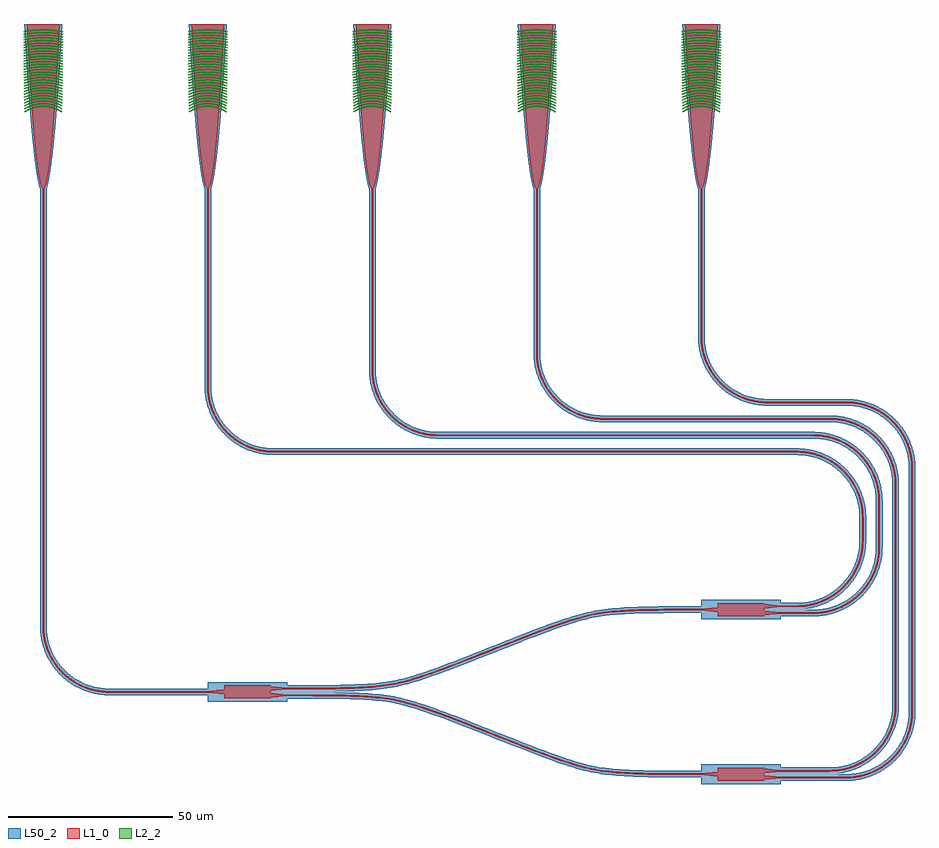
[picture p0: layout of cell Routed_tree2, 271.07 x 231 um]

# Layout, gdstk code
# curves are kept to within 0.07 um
from math import pi, radians
import gdstk
lib = gdstk.Library(unit=1e-6, precision=1e-09)
def R(c, l, rs):  # rectangles x0, y0, x1, y1
    for r in rs: c.add(gdstk.rectangle(r[:2], r[2:], *l))
def P(c, l, *ps):  # polygons
    for p in ps: c.add(gdstk.Polygon(p, *l))
L1_0 = (1, 0)
L2_2 = (2, 2)
L50_2 = (50, 2)

mmi_1x2_optimized = lib.new_cell('MMI_1X2_OPTIMIZED')
R(mmi_1x2_optimized, L1_0, [(0,-2,14.078,2)])
P(mmi_1x2_optimized, L1_0, [(-5,-0.225),(-5,0.225),(0,0.75),(0,-0.75)],
  [(14.078,0.274),(14.078,1.774),(19.078,1.249),(19.078,0.799)],
  [(14.078,-1.774),(14.078,-0.274),(19.078,-0.799),(19.078,-1.249)])
R(mmi_1x2_optimized, L50_2, [(-5,-3,19.078,3)])

sp2_connector0 = lib.new_cell('SP2_connector0')
P(sp2_connector0, L1_0, [(19.078,-1.249),(32.112,-1.293),(41.04,-1.528),(44.877,-1.77),(48.324,-2.121),(51.4,-2.601),(53.393,-3.027),(55.514,-3.57),(58.953,-4.593),(65.436,-6.83),(72.962,-9.684),(92.549,-17.377),(101.205,-20.59),(107.328,-22.573),(110.582,-23.435),(112.594,-23.865),(114.624,-24.204),(117.967,-24.598),(124.39,-25.005),(131.961,-25.181),(145,-25.225),(145,-24.775),(130.357,-24.71),(124.408,-24.555),(120.436,-24.346),(116.861,-24.034),(114.689,-23.759),(111.697,-23.225),(109.641,-22.74),(107.453,-22.14),(103.906,-21.035),(97.225,-18.671),(89.475,-15.7),(71.529,-8.647),(62.873,-5.434),(56.75,-3.451),(53.496,-2.589),(51.484,-2.159),(48.38,-1.674),(44.913,-1.321),(41.061,-1.079),(36.803,-0.926),(30.457,-0.827),(19.078,-0.799)])
P(sp2_connector0, L50_2, [(19.078,-2.024),(32.103,-2.068),(41.002,-2.303),(44.815,-2.542),(48.226,-2.889),(53.215,-3.782),(58.718,-5.332),(65.17,-7.558),(92.27,-18.1),(100.949,-21.322),(107.112,-23.317),(112.449,-24.627),(117.895,-25.37),(124.359,-25.779),(131.952,-25.956),(145,-26),(145,-24),(130.369,-23.935),(121.759,-23.652),(118.082,-23.379),(114.801,-22.992),(109.833,-21.989),(104.149,-20.299),(97.495,-17.944),(71.808,-7.924),(63.129,-4.702),(56.966,-2.707),(51.629,-1.397),(46.183,-0.654),(39.719,-0.245),(32.126,-0.068),(19.078,-0.024)])

sp2_connector1 = lib.new_cell('SP2_connector1')
P(sp2_connector1, L1_0, [(19.078,0.799),(32.117,0.843),(39.688,1.019),(46.111,1.426),(49.454,1.82),(51.484,2.159),(53.496,2.589),(56.75,3.451),(62.873,5.434),(71.529,8.647),(89.475,15.7),(97.225,18.671),(103.906,21.035),(107.453,22.14),(109.641,22.74),(111.697,23.225),(114.689,23.759),(116.861,24.034),(120.436,24.346),(124.408,24.555),(130.357,24.71),(145,24.775),(145,25.225),(131.961,25.181),(124.39,25.005),(117.967,24.598),(114.624,24.204),(112.594,23.865),(110.582,23.435),(107.328,22.573),(101.205,20.59),(92.549,17.377),(74.603,10.324),(66.853,7.353),(60.172,4.989),(56.625,3.884),(54.437,3.284),(52.381,2.799),(49.389,2.265),(47.217,1.99),(43.642,1.678),(39.67,1.469),(33.721,1.314),(19.078,1.249)])
P(sp2_connector1, L50_2, [(19.078,0.024),(32.126,0.068),(41.098,0.305),(47.351,0.772),(52.637,1.601),(58.128,3.053),(64.473,5.179),(71.808,7.924),(97.495,17.944),(104.149,20.299),(109.833,21.989),(114.801,22.992),(118.082,23.379),(121.759,23.652),(130.369,23.935),(145,24),(145,26),(131.952,25.956),(122.98,25.719),(116.727,25.252),(111.441,24.423),(105.95,22.971),(99.605,20.845),(92.27,18.1),(66.583,8.08),(59.929,5.725),(54.245,4.035),(49.277,3.032),(45.996,2.645),(42.319,2.372),(33.709,2.089),(19.078,2.024)])

sp2 = lib.new_cell('SP2')
sp2.add(gdstk.Reference(mmi_1x2_optimized, (0,0)))
sp2.add(gdstk.Reference(mmi_1x2_optimized, (150,-25)))
sp2.add(gdstk.Reference(mmi_1x2_optimized, (150,25)))
sp2.add(gdstk.Reference(sp2_connector0, (0,0)))
sp2.add(gdstk.Reference(sp2_connector1, (0,0)))

fc_te_1550_grating = lib.new_cell('FC_TE_1550_grating')
P(fc_te_1550_grating, L2_2, [(1.879,5.557),(1.112,4.222),(0.612,2.949),(0.294,1.618),(0.163,0.257),(0.205,-0.94),(0.43,-2.289),(0.665,-3.112),(0.97,-3.911),(1.344,-4.68),(1.879,-5.557),(1.614,-5.736),(0.823,-4.359),(0.255,-2.876),(-0.074,-1.321),(-0.157,0.265),(-0.095,1.146),(0.043,2.018),(0.255,2.876),(0.542,3.711),(0.98,4.676),(1.614,5.736)],
  [(0.961,5.613),(0.27,4.306),(-0.18,3.095),(-0.48,1.838),(-0.634,0.369),(-0.6,-0.922),(-0.41,-2.201),(-0.18,-3.095),(0.127,-3.966),(0.508,-4.807),(0.961,-5.613),(0.688,-5.779),(-0.022,-4.436),(-0.54,-3.005),(-0.761,-2.08),(-0.879,-1.329),(-0.958,0.19),(-0.901,1.14),(-0.761,2.08),(-0.54,3.005),(-0.306,3.73),(0.138,4.781),(0.688,5.779)],
  [(0.057,5.658),(-0.627,4.236),(-1.06,2.926),(-1.331,1.573),(-1.438,0.197),(-1.357,-1.377),(-1.06,-2.926),(-0.627,-4.236),(0.057,-5.658),(-0.222,-5.814),(-0.924,-4.354),(-1.369,-3.008),(-1.674,-1.416),(-1.758,0.203),(-1.697,1.214),(-1.586,2.018),(-1.369,3.008),(-1.135,3.784),(-0.767,4.729),(-0.222,5.814)],
  [(-0.834,5.695),(-1.443,4.345),(-1.831,3.137),(-2.123,1.687),(-2.233,0.423),(-2.174,-1.267),(-1.932,-2.727),(-1.443,-4.345),(-0.834,-5.695),(-1.119,-5.842),(-1.742,-4.459),(-2.244,-2.798),(-2.493,-1.3),(-2.553,0.434),(-2.373,2.16),(-1.957,3.844),(-1.581,4.862),(-1.119,5.842)],
  [(-1.715,5.726),(-2.242,4.491),(-2.639,3.21),(-2.902,1.894),(-3.036,0.335),(-2.982,-1.228),(-2.741,-2.775),(-2.317,-4.281),(-1.715,-5.726),(-2.004,-5.865),(-2.62,-4.386),(-3.054,-2.843),(-3.301,-1.259),(-3.356,0.344),(-3.301,1.259),(-3.183,2.167),(-2.763,3.95),(-2.462,4.816),(-2.004,5.865)],
  [(-2.588,5.753),(-3.112,4.429),(-3.498,3.059),(-3.74,1.657),(-3.838,0.237),(-3.767,-1.421),(-3.548,-2.827),(-3.112,-4.429),(-2.588,-5.753),(-2.88,-5.883),(-3.491,-4.3),(-3.909,-2.654),(-4.127,-0.97),(-4.152,0.485),(-3.992,2.176),(-3.81,3.13),(-3.563,4.068),(-3.252,4.988),(-2.88,5.883)],
  [(-3.453,5.775),(-3.901,4.593),(-4.301,3.133),(-4.518,1.889),(-4.635,0.379),(-4.596,-1.135),(-4.353,-2.885),(-3.978,-4.353),(-3.453,-5.775),(-3.748,-5.899),(-4.283,-4.448),(-4.667,-2.948),(-4.893,-1.417),(-4.955,0.387),(-4.799,2.186),(-4.428,3.953),(-4.121,4.938),(-3.748,5.899)],
  [(-4.311,5.794),(-4.83,4.297),(-5.143,3.016),(-5.345,1.712),(-5.435,0.396),(-5.394,-1.187),(-5.192,-2.756),(-4.83,-4.297),(-4.311,-5.794),(-4.609,-5.912),(-5.137,-4.386),(-5.507,-2.814),(-5.713,-1.211),(-5.755,0.404),(-5.594,2.282),(-5.21,4.127),(-4.609,5.912)],
  [(-5.165,5.811),(-5.613,4.468),(-5.943,3.093),(-6.151,1.694),(-6.238,0.283),(-6.201,-1.131),(-5.994,-2.815),(-5.689,-4.196),(-5.165,-5.811),(-5.465,-5.923),(-5.998,-4.278),(-6.357,-2.586),(-6.52,-1.153),(-6.55,0.577),(-6.357,2.586),(-5.998,4.278),(-5.465,5.923)],
  [(-6.013,5.826),(-6.381,4.694),(-6.727,3.249),(-6.947,1.78),(-7.03,0.594),(-6.999,-1.188),(-6.83,-2.664),(-6.46,-4.407),(-6.013,-5.826),(-6.315,-5.932),(-6.845,-4.197),(-7.147,-2.714),(-7.318,-1.21),(-7.357,0.303),(-7.231,2.114),(-7.097,3.013),(-6.845,4.197),(-6.315,5.932)],
  [(-6.858,5.838),(-7.295,4.377),(-7.553,3.185),(-7.73,1.978),(-7.834,0.457),(-7.808,-1.067),(-7.652,-2.583),(-7.295,-4.377),(-6.858,-5.838),(-7.161,-5.941),(-7.679,-4.154),(-7.969,-2.629),(-8.128,-1.086),(-8.154,0.466),(-8.011,2.322),(-7.679,4.154),(-7.161,5.941)],
  [(-7.698,5.85),(-8.06,4.614),(-8.335,3.358),(-8.523,2.086),(-8.634,0.482),(-8.606,-1.125),(-8.44,-2.724),(-8.137,-4.302),(-7.698,-5.85),(-8.003,-5.948),(-8.448,-4.376),(-8.757,-2.77),(-8.925,-1.144),(-8.954,0.491),(-8.802,2.446),(-8.448,4.376),(-8.003,5.948)],
  [(-8.536,5.86),(-8.892,4.585),(-9.16,3.29),(-9.339,1.98),(-9.429,0.661),(-9.415,-0.991),(-9.26,-2.637),(-8.967,-4.263),(-8.536,-5.86),(-8.842,-5.954),(-9.279,-4.333),(-9.577,-2.68),(-9.734,-1.008),(-9.749,0.672),(-9.577,2.68),(-9.203,4.66),(-8.842,5.954)],
  [(-9.37,5.869),(-9.649,4.855),(-9.938,3.484),(-10.131,2.097),(-10.228,0.7),(-10.213,-1.05),(-10.092,-2.445),(-9.805,-4.172),(-9.37,-5.869),(-9.678,-5.959),(-10.042,-4.585),(-10.363,-2.837),(-10.532,-1.067),(-10.548,0.711),(-10.363,2.837),(-10.042,4.585),(-9.678,5.959)],
  [(-10.203,5.877),(-10.558,4.477),(-10.817,3.057),(-10.977,1.622),(-11.033,0.541),(-11.021,-0.902),(-10.866,-2.699),(-10.632,-4.123),(-10.203,-5.877),(-10.511,-5.964),(-10.946,-4.186),(-11.184,-2.74),(-11.322,-1.282),(-11.353,0.55),(-11.184,2.74),(-10.871,4.545),(-10.511,5.964)],
  [(-11.032,5.884),(-11.385,4.436),(-11.584,3.337),(-11.761,1.859),(-11.837,0.372),(-11.811,-1.116),(-11.685,-2.6),(-11.385,-4.436),(-11.032,-5.884),(-11.341,-5.968),(-11.698,-4.501),(-11.954,-3.012),(-12.109,-1.51),(-12.157,0.378),(-12.044,2.262),(-11.698,4.501),(-11.341,5.968)],
  [(-11.86,5.891),(-12.21,4.392),(-12.405,3.256),(-12.574,1.728),(-12.633,0.577),(-12.62,-0.961),(-12.457,-2.875),(-12.21,-4.392),(-11.86,-5.891),(-12.17,-5.971),(-12.524,-4.454),(-12.774,-2.916),(-12.939,-0.974),(-12.953,0.585),(-12.82,2.529),(-12.524,4.454),(-12.17,5.971)],
  [(-12.686,5.897),(-13.168,3.562),(-13.319,2.38),(-13.427,0.794),(-13.427,-0.794),(-13.319,-2.38),(-13.034,-4.345),(-12.686,-5.897),(-12.997,-5.974),(-13.348,-4.404),(-13.593,-2.812),(-13.729,-1.208),(-13.757,0.403),(-13.637,2.412),(-13.348,4.404),(-12.997,5.974)],
  [(-13.51,5.902),(-13.989,3.482),(-14.135,2.258),(-14.232,0.617),(-14.218,-1.027),(-14.093,-2.667),(-13.857,-4.294),(-13.51,-5.902),(-13.822,-5.977),(-14.172,-4.35),(-14.411,-2.702),(-14.538,-1.041),(-14.552,0.625),(-14.411,2.702),(-14.094,4.76),(-13.822,5.977)],
  [(-14.333,5.907),(-14.603,4.657),(-14.809,3.396),(-14.95,2.127),(-15.026,0.852),(-15.026,-0.852),(-14.91,-2.551),(-14.679,-4.238),(-14.333,-5.907),(-14.645,-5.98),(-14.994,-4.292),(-15.228,-2.583),(-15.345,-0.862),(-15.345,0.862),(-15.181,3.012),(-14.834,5.14),(-14.645,5.98)],
  [(-15.155,5.912),(-15.425,4.613),(-15.628,3.304),(-15.764,1.986),(-15.832,0.662),(-15.816,-1.104),(-15.681,-2.865),(-15.425,-4.613),(-15.155,-5.912),(-15.467,-5.982),(-15.816,-4.23),(-15.999,-2.901),(-16.136,-1.118),(-16.151,0.671),(-15.999,2.901),(-15.74,4.67),(-15.467,5.982)],
  [(-15.975,5.916),(-16.388,3.659),(-16.541,2.291),(-16.624,0.917),(-16.624,-0.917),(-16.498,-2.748),(-16.321,-4.113),(-15.975,-5.916),(-16.287,-5.984),(-16.637,-4.162),(-16.86,-2.319),(-16.944,-0.928),(-16.944,0.928),(-16.816,2.781),(-16.478,5.077),(-16.287,5.984)],
  [(-16.794,5.92),(-17.207,3.569),(-17.356,2.145),(-17.431,0.716),(-17.431,-0.716),(-17.315,-2.621),(-17.141,-4.042),(-16.794,-5.92),(-17.107,-5.986),(-17.382,-4.566),(-17.633,-2.651),(-17.751,-0.724),(-17.751,0.724),(-17.583,3.131),(-17.298,5.041),(-17.107,5.986)],
  [(-17.612,5.923),(-17.877,4.515),(-18.07,3.096),(-18.231,0.716),(-18.215,-1.193),(-18.118,-2.621),(-17.877,-4.515),(-17.612,-5.923),(-17.925,-5.988),(-18.193,-4.566),(-18.437,-2.651),(-18.535,-1.206),(-18.551,0.724),(-18.437,2.651),(-18.111,5.042),(-17.925,5.988)],
  [(-18.429,5.927),(-18.832,3.472),(-19.023,0.994),(-19.036,-0.497),(-18.934,-2.483),(-18.696,-4.458),(-18.429,-5.927),(-18.743,-5.989),(-19.085,-4.009),(-19.252,-2.511),(-19.356,-0.503),(-19.343,1.005),(-19.205,3.011),(-18.841,5.497),(-18.743,5.989)],
  [(-19.245,5.93),(-19.65,3.366),(-19.83,0.778),(-19.812,-1.297),(-19.704,-2.85),(-19.515,-4.395),(-19.245,-5.93),(-19.559,-5.991),(-19.904,-3.923),(-20.068,-2.358),(-20.15,-0.787),(-20.15,0.787),(-19.968,3.402),(-19.659,5.477),(-19.559,5.991)],
  [(-20.06,5.932),(-20.454,3.367),(-20.63,0.778),(-20.613,-1.297),(-20.507,-2.851),(-20.323,-4.397),(-20.06,-5.932),(-20.375,-5.992),(-20.64,-4.442),(-20.826,-2.88),(-20.95,-0.787),(-20.95,0.787),(-20.773,3.402),(-20.472,5.478),(-20.375,5.992)],
  [(-20.875,5.935),(-21.272,3.25),(-21.421,1.085),(-21.435,-0.543),(-21.323,-2.71),(-21.141,-4.328),(-20.875,-5.935),(-21.189,-5.993),(-21.458,-4.372),(-21.642,-2.738),(-21.741,-1.096),(-21.741,1.096),(-21.59,3.283),(-21.288,5.455),(-21.189,5.993)],
  [(-21.689,5.938),(-22.076,3.251),(-22.222,1.085),(-22.222,-1.085),(-22.126,-2.711),(-21.948,-4.329),(-21.689,-5.938),(-22.004,-5.994),(-22.265,-4.372),(-22.445,-2.738),(-22.542,-1.096),(-22.542,1.096),(-22.394,3.283),(-22.1,5.456),(-22.004,5.994)],
  [(-22.502,5.94),(-22.892,3.123),(-23.029,0.853),(-23.029,-0.853),(-22.941,-2.556),(-22.765,-4.253),(-22.502,-5.94),(-22.817,-5.995),(-23.082,-4.294),(-23.26,-2.581),(-23.349,-0.861),(-23.349,0.861),(-23.211,3.153),(-22.915,5.43),(-22.817,5.995)])

fc_te_1550_socket = lib.new_cell('FC_TE_1550_socket')
P(fc_te_1550_socket, L1_0, [(25,0.225),(25,-0.225),(24.705,-0.445),(22.786,-1.075),(19.069,-1.735),(13.702,-2.385),(-2.112,-3.685),(-25,-5),(-25,5),(-3.913,3.805),(11.502,2.605),(16.965,2.015),(21.089,1.415),(23.803,0.805),(24.57,0.515)])
P(fc_te_1550_socket, L50_2, [(25,1),(25,-1),(22.079,-1.7),(17.791,-2.38),(10.221,-3.25),(0.565,-4.1),(-11.019,-4.93),(-25,-5.775),(-25,5.775),(-5.733,4.57),(8.784,3.39),(19.133,2.19),(22.589,1.6)])

fc_te_1550 = lib.new_cell('FC_TE_1550')
fc_te_1550.add(gdstk.Reference(fc_te_1550_grating, (0,0)))
fc_te_1550.add(gdstk.Reference(fc_te_1550_socket, (0,0)))

routed_tree2_connector0 = lib.new_cell('Routed_tree2_connector0')
P(routed_tree2_connector0, L1_0, [(-55.225,153),(-55.225,19.999),(-55.15,18.257),(-54.981,16.871),(-54.718,15.5),(-54.257,13.817),(-53.371,11.541),(-52.217,9.388),(-50.813,7.39),(-49.905,6.329),(-48.926,5.333),(-47.057,3.762),(-45.012,2.427),(-42.82,1.348),(-40.515,0.541),(-39.159,0.207),(-37.784,-0.032),(-35.349,-0.222),(-5,-0.225),(-5,0.225),(-35.683,0.237),(-38.06,0.463),(-40.392,0.974),(-42.646,1.763),(-43.886,2.334),(-45.084,2.989),(-47.061,4.329),(-48.862,5.897),(-50.461,7.67),(-51.834,9.624),(-52.962,11.729),(-53.828,13.954),(-54.279,15.6),(-54.537,16.94),(-54.701,18.295),(-54.772,19.659),(-54.775,153)])
P(routed_tree2_connector0, L50_2, [(-56,153),(-56,19.996),(-55.922,18.19),(-55.688,16.393),(-54.881,13.235),(-53.92,10.888),(-52.684,8.674),(-51.19,6.625),(-49.46,4.771),(-47.519,3.139),(-45.395,1.753),(-43.12,0.633),(-40.726,-0.204),(-37.891,-0.8),(-35.362,-0.997),(-5,-1),(-5,1),(-35.656,1.011),(-38.263,1.282),(-40.809,1.91),(-42.648,2.607),(-44.689,3.656),(-46.588,4.943),(-48.319,6.45),(-49.855,8.154),(-51.174,10.031),(-52.258,12.053),(-53.09,14.191),(-53.771,17.06),(-54,20.004),(-54,153)])

routed_tree2_connector1 = lib.new_cell('Routed_tree2_connector1')
P(routed_tree2_connector1, L1_0, [(-5.225,153),(-5.225,92.999),(-5.078,90.562),(-4.637,88.16),(-3.911,85.828),(-3.068,83.911),(-1.841,81.8),(-0.593,80.119),(1.074,78.333),(2.665,76.972),(4.687,75.602),(5.911,74.932),(7.18,74.348),(9.485,73.541),(10.841,73.207),(12.216,72.968),(14.651,72.778),(174.077,72.775),(176.122,72.669),(178.145,72.352),(180.448,71.721),(182.349,70.962),(184.162,70.011),(186.139,68.671),(187.94,67.103),(189.324,65.595),(190.731,63.665),(191.744,61.886),(192.568,60.012),(193.104,58.392),(193.498,56.732),(193.779,54.705),(193.853,52.999),(193.85,45.679),(193.745,43.957),(193.49,42.251),(192.989,40.242),(192.413,38.616),(191.698,37.046),(190.663,35.254),(189.661,33.849),(188.303,32.287),(186.789,30.875),(185.136,29.63),(183.665,28.728),(182.121,27.959),(180.516,27.326),(178.862,26.836),(176.83,26.441),(175.113,26.276),(169.078,26.249),(169.078,25.799),(174.431,25.802),(176.893,25.996),(178.283,26.241),(179.653,26.582),(180.995,27.019),(182.304,27.548),(183.573,28.166),(184.796,28.872),(186.25,29.872),(187.347,30.76),(188.627,31.975),(189.571,33.024),(190.645,34.423),(191.414,35.607),(192.408,37.477),(193.313,39.774),(193.931,42.165),(194.254,44.613),(194.303,46.023),(194.255,54.395),(194.11,55.784),(193.871,57.159),(193.537,58.515),(193.11,59.844),(192.146,62.089),(190.919,64.2),(190.106,65.335),(189.217,66.412),(187.49,68.139),(186.413,69.028),(185.278,69.841),(183.167,71.068),(180.922,72.032),(179.593,72.459),(178.237,72.793),(176.169,73.117),(174.079,73.225),(14.659,73.228),(12.278,73.413),(10.933,73.648),(9.608,73.974),(7.354,74.763),(6.114,75.334),(4.916,75.989),(3.211,77.123),(1.384,78.66),(-0.246,80.405),(-1.466,82.049),(-2.51,83.81),(-3.49,85.988),(-4.116,87.937),(-4.587,90.278),(-4.728,91.636),(-4.775,93.001),(-4.775,153)])
P(routed_tree2_connector1, L50_2, [(-6,153),(-6,92.996),(-5.8,90.109),(-5.39,87.974),(-4.635,85.553),(-3.595,83.241),(-2.486,81.371),(-1.19,79.625),(0.54,77.771),(2.481,76.139),(4.291,74.935),(6.88,73.633),(9.274,72.796),(12.109,72.2),(14.638,72.003),(174.074,72),(176.042,71.898),(177.986,71.594),(179.887,71.09),(182.025,70.258),(183.767,69.344),(185.666,68.057),(187.161,66.778),(188.726,65.101),(189.899,63.522),(191.052,61.538),(191.724,60.043),(192.358,58.181),(192.796,56.263),(193.007,54.638),(193.075,45.692),(192.974,44.038),(192.729,42.399),(192.248,40.469),(191.694,38.906),(190.854,37.104),(190.013,35.676),(189.05,34.326),(187.974,33.066),(186.791,31.904),(185.246,30.653),(183.864,29.738),(182.108,28.804),(180.264,28.059),(178.352,27.511),(176.722,27.209),(175.072,27.05),(169.078,27.024),(169.078,25.024),(174.445,25.027),(177.001,25.228),(179.866,25.837),(182.619,26.84),(185.515,28.412),(188.13,30.418),(190.165,32.525),(192.079,35.208),(193.11,37.149),(194.05,39.535),(194.692,42.017),(195.027,44.559),(195.028,54.449),(194.701,56.963),(193.959,59.765),(192.838,62.437),(191.564,64.629),(189.797,66.926),(188.004,68.719),(186.007,70.283),(183.837,71.595),(181.185,72.761),(178.751,73.474),(176.249,73.888),(174.082,74),(14.672,74.003),(12.06,74.229),(9.819,74.72),(7.352,75.607),(5.311,76.656),(3.412,77.943),(1.917,79.222),(0.563,80.648),(-0.821,82.478),(-1.824,84.17),(-2.646,85.957),(-3.367,88.135),(-3.771,90.06),(-4,93.004),(-4,153)])

routed_tree2_connector2 = lib.new_cell('Routed_tree2_connector2')
P(routed_tree2_connector2, L1_0, [(44.775,153),(44.775,97.999),(44.883,95.909),(45.207,93.841),(45.743,91.817),(46.348,90.18),(47.257,88.293),(48.159,86.8),(49.407,85.119),(50.823,83.576),(52.39,82.187),(53.8,81.159),(54.988,80.427),(56.541,79.629),(57.828,79.089),(59.485,78.541),(61.183,78.138),(62.562,77.922),(64.302,77.787),(179.419,77.772),(181.122,77.669),(182.81,77.42),(184.47,77.026),(185.77,76.608),(187.658,75.817),(189.743,74.653),(191.673,73.246),(193.181,71.862),(194.749,70.061),(196.089,68.084),(197.18,65.96),(197.906,64.046),(198.357,62.4),(198.615,61.06),(198.806,59.364),(198.853,57.999),(198.826,42.941),(198.553,40.542),(197.989,38.194),(197.281,36.249),(196.374,34.389),(195.277,32.634),(194.227,31.265),(192.815,29.751),(191.253,28.393),(189.848,27.391),(188.056,26.356),(186.486,25.641),(184.86,25.065),(183.189,24.633),(181.83,24.393),(179.423,24.204),(169.078,24.201),(169.078,23.751),(180.136,23.779),(182.59,24.058),(184.653,24.534),(186.326,25.094),(187.625,25.646),(189.191,26.461),(190.388,27.209),(191.53,28.038),(192.871,29.184),(193.87,30.183),(194.796,31.248),(195.645,32.375),(196.414,33.559),(197.099,34.794),(197.695,36.073),(198.52,38.401),(198.861,39.771),(199.106,41.161),(199.3,43.623),(199.303,58.001),(199.195,60.091),(198.94,61.817),(198.335,64.183),(197.862,65.497),(197.3,66.775),(196.651,68.012),(195.919,69.2),(194.446,71.148),(193.502,72.177),(192.49,73.139),(190.567,74.645),(189.391,75.398),(188.167,76.068),(185.922,77.032),(184.593,77.459),(182.895,77.862),(181.169,78.117),(179.427,78.222),(64.317,78.237),(62.616,78.369),(61.268,78.58),(59.608,78.974),(57.988,79.51),(56.42,80.183),(54.916,80.989),(53.487,81.922),(52.405,82.754),(51.138,83.897),(49.754,85.405),(48.534,87.049),(47.651,88.509),(46.763,90.354),(46.07,92.28),(45.58,94.268),(45.331,95.956),(45.225,98.001),(45.225,153)])
P(routed_tree2_connector2, L50_2, [(44,153),(44,97.996),(44.112,95.829),(44.449,93.681),(45.005,91.58),(45.776,89.547),(46.577,87.921),(47.717,86.071),(48.81,84.625),(50.279,83.023),(51.907,81.582),(54.605,79.753),(56.216,78.925),(57.893,78.239),(61.037,77.377),(64.275,77.012),(179.406,76.997),(182.341,76.718),(183.943,76.367),(185.508,75.879),(187.616,74.974),(189.6,73.821),(191.43,72.437),(192.856,71.083),(194.135,69.588),(195.422,67.689),(196.471,65.648),(197.168,63.809),(197.849,60.94),(198.078,57.996),(198.052,42.982),(197.789,40.677),(197.248,38.421),(196.568,36.552),(195.854,35.056),(194.83,33.351),(193.844,32.019),(192.513,30.541),(191.291,29.421),(189.703,28.224),(188.289,27.358),(186.502,26.486),(184.949,25.906),(183.028,25.391),(181.394,25.118),(179.41,24.979),(169.078,24.976),(169.078,22.976),(180.177,23.005),(182.725,23.295),(184.866,23.789),(187.953,24.944),(190.821,26.566),(193.13,28.37),(195.398,30.76),(197.079,33.16),(198.409,35.771),(199.265,38.188),(199.874,41.053),(200.075,43.609),(200.078,58.004),(199.966,60.171),(199.701,61.963),(198.959,64.765),(197.998,67.112),(196.762,69.326),(195.035,71.652),(193.004,73.719),(191.007,75.283),(188.837,76.595),(186.185,77.761),(183.041,78.623),(181.249,78.888),(179.44,78.997),(64.344,79.011),(61.414,79.342),(58.57,80.121),(55.881,81.331),(54.478,82.179),(53.154,83.145),(51.917,84.222),(50.563,85.648),(49.363,87.207),(48.491,88.595),(47.607,90.352),(47.013,91.88),(46.476,93.772),(46.181,95.385),(46,98.004),(46,153)])

routed_tree2_connector3 = lib.new_cell('Routed_tree2_connector3')
P(routed_tree2_connector3, L1_0, [(94.775,153),(94.775,102.999),(94.922,100.562),(95.207,98.841),(95.743,96.817),(96.486,94.859),(97.427,92.988),(98.556,91.225),(99.861,89.588),(101.329,88.095),(102.943,86.762),(104.092,85.969),(105.293,85.257),(106.541,84.629),(108.156,83.968),(109.485,83.541),(111.183,83.138),(112.562,82.922),(113.953,82.802),(184.077,82.775),(185.442,82.728),(186.8,82.587),(189.141,82.116),(191.09,81.49),(193.268,80.51),(195.029,79.466),(196.934,78.026),(198.651,76.367),(199.955,74.789),(201.26,72.789),(202.315,70.646),(203.104,68.392),(203.43,67.067),(203.665,65.722),(203.85,63.341),(203.85,-4.321),(203.778,-5.7),(203.553,-7.41),(203.266,-8.76),(202.776,-10.414),(202,-12.333),(201.028,-14.161),(199.871,-15.877),(198.541,-17.463),(197.052,-18.9),(195.42,-20.175),(193.665,-21.272),(191.486,-22.311),(189.86,-22.887),(188.526,-23.244),(187.171,-23.508),(185.457,-23.703),(169.078,-23.751),(169.078,-24.201),(184.079,-24.201),(185.841,-24.124),(188.283,-23.759),(190.328,-23.211),(192.304,-22.452),(194.191,-21.491),(196.25,-20.128),(198.127,-18.525),(199.796,-16.704),(201.23,-14.694),(202.408,-12.523),(203.313,-10.226),(203.931,-7.835),(204.254,-5.387),(204.303,-3.977),(204.291,63.698),(204.059,66.129),(203.537,68.515),(202.73,70.82),(201.651,73.012),(200.522,74.775),(198.983,76.671),(197.226,78.368),(195.278,79.841),(193.167,81.068),(191.25,81.911),(189.256,82.551),(186.862,83.032),(185.473,83.177),(184.079,83.225),(113.976,83.252),(112.616,83.369),(111.268,83.58),(109.608,83.974),(108.308,84.392),(107.04,84.898),(105.509,85.651),(104.335,86.347),(103.211,87.123),(101.633,88.427),(100.198,89.887),(99.123,91.211),(97.989,92.916),(97.038,94.729),(96.279,96.63),(95.721,98.6),(95.369,100.616),(95.225,103.001),(95.225,153)])
P(routed_tree2_connector3, L50_2, [(94,153),(94,102.996),(94.153,100.469),(94.526,98.327),(95.119,96.235),(95.925,94.216),(96.935,92.291),(98.139,90.481),(99.281,89.074),(100.805,87.524),(102.481,86.139),(105.241,84.405),(107.893,83.239),(111.037,82.377),(113.913,82.028),(184.074,82),(186.693,81.819),(188.943,81.367),(190.815,80.765),(192.616,79.974),(194.6,78.821),(196.43,77.437),(198.08,75.843),(199.333,74.326),(200.587,72.405),(201.6,70.347),(202.445,67.865),(202.897,65.615),(203.075,63.328),(203.075,-4.308),(202.844,-6.948),(202.148,-9.847),(201.298,-12.006),(200.364,-13.762),(199.252,-15.41),(197.974,-16.934),(196.291,-18.531),(194.703,-19.728),(192.998,-20.752),(191.196,-21.592),(188.352,-22.489),(185.403,-22.93),(169.078,-22.976),(169.078,-24.976),(184.811,-24.963),(187.363,-24.717),(189.866,-24.163),(192.283,-23.307),(194.578,-22.163),(196.716,-20.747),(198.666,-19.082),(200.398,-17.192),(201.887,-15.104),(202.953,-13.182),(203.934,-10.813),(204.619,-8.342),(204.998,-5.806),(205.078,-3.98),(205.066,63.725),(204.825,66.249),(204.282,68.726),(203.445,71.12),(202.325,73.395),(200.939,75.519),(199.554,77.195),(198.004,78.719),(196.007,80.283),(193.837,81.595),(191.863,82.504),(189.455,83.3),(186.969,83.8),(184.082,84),(114.017,84.026),(111.092,84.406),(108.57,85.121),(106.17,86.176),(103.674,87.745),(102.157,88.998),(100.778,90.401),(99.745,91.674),(98.656,93.311),(97.742,95.053),(97.121,96.57),(96.633,98.135),(96.229,100.06),(96,103.004),(96,153)])

routed_tree2_connector4 = lib.new_cell('Routed_tree2_connector4')
P(routed_tree2_connector4, L1_0, [(144.775,153),(144.775,107.999),(144.823,106.605),(144.968,105.216),(145.207,103.841),(145.541,102.485),(146.089,100.828),(146.629,99.541),(147.427,97.988),(148.159,96.8),(149.187,95.39),(150.333,94.074),(151.588,92.861),(153.225,91.556),(154.687,90.602),(156.225,89.778),(157.828,89.089),(159.485,88.541),(161.183,88.138),(162.909,87.883),(164.651,87.778),(190.102,87.748),(191.462,87.631),(193.145,87.352),(194.798,86.93),(196.09,86.49),(198.268,85.51),(200.029,84.466),(201.934,83.026),(203.651,81.367),(205.156,79.513),(206.427,77.491),(207.315,75.646),(208.104,73.392),(208.43,72.067),(208.665,70.722),(208.85,68.341),(208.853,-6.023),(208.778,-7.748),(208.553,-9.458),(208.087,-11.475),(207.54,-13.111),(206.698,-15.002),(205.472,-17.082),(204.227,-18.735),(202.565,-20.487),(200.979,-21.817),(198.965,-23.15),(197.121,-24.089),(195.189,-24.831),(193.862,-25.212),(192.512,-25.499),(191.145,-25.691),(189.768,-25.787),(169.078,-25.799),(169.078,-26.249),(189.431,-26.246),(190.841,-26.172),(192.242,-26),(194.653,-25.466),(195.995,-25.029),(197.304,-24.5),(198.573,-23.882),(199.796,-23.176),(201.25,-22.176),(202.347,-21.288),(203.379,-20.325),(204.342,-19.293),(205.23,-18.196),(206.04,-17.039),(206.767,-15.829),(207.408,-14.571),(207.96,-13.272),(208.52,-11.599),(208.861,-10.229),(209.106,-8.839),(209.254,-7.435),(209.303,-6.025),(209.303,68.001),(209.255,69.395),(209.11,70.784),(208.871,72.159),(208.537,73.515),(207.73,75.82),(206.651,78.012),(205.522,79.775),(203.983,81.671),(202.226,83.368),(200.278,84.841),(198.167,86.068),(196.25,86.911),(194.593,87.459),(193.237,87.793),(191.516,88.078),(190.125,88.198),(164.659,88.228),(162.956,88.331),(161.268,88.58),(159.608,88.974),(157.988,89.51),(156.42,90.183),(154.916,90.989),(153.487,91.922),(152.144,92.974),(150.897,94.138),(149.539,95.67),(148.726,96.767),(147.989,97.916),(147.183,99.42),(146.634,100.67),(146.07,102.28),(145.721,103.6),(145.463,104.94),(145.299,106.295),(145.225,108.001),(145.225,153)])
P(routed_tree2_connector4, L50_2, [(144,153),(144,107.996),(144.078,106.19),(144.526,103.327),(145.496,100.215),(146.935,97.291),(148.582,94.907),(149.771,93.54),(151.074,92.281),(152.481,91.139),(154.291,89.935),(155.888,89.08),(157.553,88.365),(159.274,87.796),(161.037,87.377),(162.829,87.112),(164.638,87.003),(189.734,86.989),(192.664,86.658),(195.508,85.879),(197.616,84.974),(199.6,83.821),(201.43,82.437),(203.08,80.843),(204.526,79.061),(205.747,77.119),(206.6,75.347),(207.358,73.181),(207.849,70.94),(208.075,68.328),(208.078,-6.02),(208.006,-7.68),(207.729,-9.649),(207.342,-11.261),(206.816,-12.833),(205.854,-14.944),(204.83,-16.649),(203.633,-18.237),(202.036,-19.92),(200.512,-21.198),(198.864,-22.31),(197.108,-23.244),(194.949,-24.094),(192.377,-24.735),(189.741,-25.012),(169.078,-25.024),(169.078,-27.024),(189.811,-27.011),(192.363,-26.765),(194.866,-26.211),(197.619,-25.208),(200.206,-23.833),(202.577,-22.111),(204.927,-19.801),(206.69,-17.461),(208.11,-14.899),(209.265,-11.812),(209.874,-8.947),(210.078,-6.028),(210.078,68.004),(209.878,70.891),(209.282,73.726),(208.445,76.12),(207.325,78.395),(205.939,80.519),(204.554,82.195),(203.004,83.719),(201.007,85.283),(198.837,86.595),(196.525,87.635),(193.397,88.551),(190.165,88.972),(164.672,89.003),(161.737,89.282),(160.135,89.633),(158.57,90.121),(157.053,90.742),(155.311,91.656),(153.939,92.552),(152.648,93.563),(151.45,94.681),(150.352,95.899),(148.656,98.311),(147.478,100.653),(146.633,103.135),(146.102,106.036),(146,108.004),(146,153)])

routed_tree2 = lib.new_cell('Routed_tree2')
routed_tree2.add(gdstk.Reference(sp2, (0,0)))
routed_tree2.add(gdstk.Reference(fc_te_1550, (-55,178), rotation=3*pi/2))
routed_tree2.add(gdstk.Reference(fc_te_1550, (145,178), rotation=3*pi/2))
routed_tree2.add(gdstk.Reference(fc_te_1550, (95,178), rotation=3*pi/2))
routed_tree2.add(gdstk.Reference(fc_te_1550, (45,178), rotation=3*pi/2))
routed_tree2.add(gdstk.Reference(fc_te_1550, (-5,178), rotation=3*pi/2))
routed_tree2.add(gdstk.Reference(routed_tree2_connector0, (0,0)))
routed_tree2.add(gdstk.Reference(routed_tree2_connector1, (0,0)))
routed_tree2.add(gdstk.Reference(routed_tree2_connector2, (0,0)))
routed_tree2.add(gdstk.Reference(routed_tree2_connector3, (0,0)))
routed_tree2.add(gdstk.Reference(routed_tree2_connector4, (0,0)))

lib.write_gds('Routed_tree2.gds')
